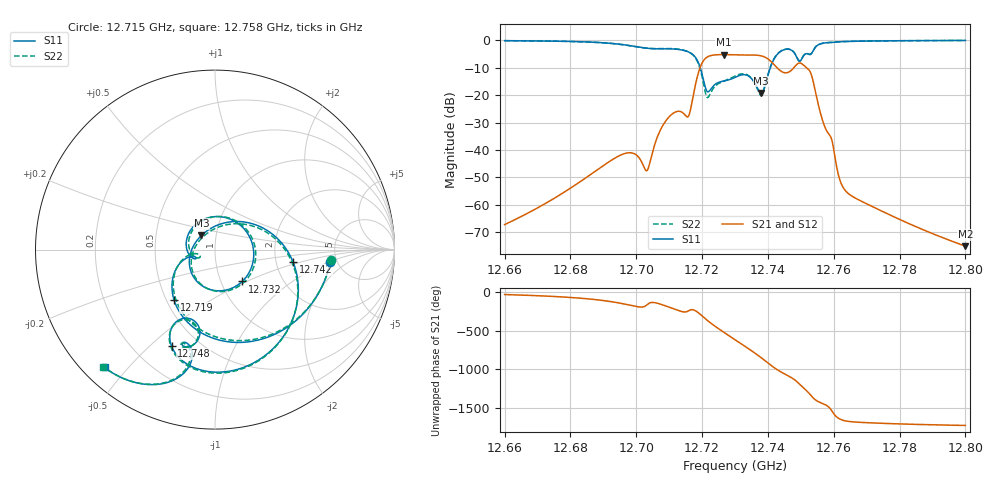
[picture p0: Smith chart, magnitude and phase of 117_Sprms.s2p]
! TOUCHSTONE file generated by CST MICROWAVE STUDIO
! Date and time: Wed Jul 31 16:41:13 2024
! Project name: WaveGuide_BPF-Ver4.1_U-shape_Ku_T3_C4_CWA_2.cst
! Parameters = {cavity_h=16; cavity_l0=10; cavity_l1=15.2361; cavity_l2=16.8702; cavity_l3=17.1135; cavity_l4=17.2491; cavity_l5=17.1061; cavity_l6=17.5619; cavity_r=2.5; cavity_screw_l=0.5; cavity_screw_r=1.5; cavity_w=8; iris_h00=0; iris_h01=8.8095; iris_h112=0; iris_h12=5.6044; iris_h211=3.6676; 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
! Header version: 2018
! Port assignment regex: !\s*Touchstone port\s*([0-9]+)\s*=\s*(CST MWS port|CST DS port)\s*([0-9]+|Zmin|Zmax)\s*\(\"(.*)\"\)(\s*mode\s*([0-9]+))?.*
! Touchstone port assignment:
! Touchstone port 1 = CST MWS port 1 ("")
! Touchstone port 2 = CST MWS port 2 ("")
# GHz S RI R 50
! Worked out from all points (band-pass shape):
!   5001 points, 12.66 GHz to 12.8 GHz, reference 50 ohm
!   highest |S21| = -5.29 dB at 12.727 GHz (marker M1); lowest = -75.0 dB at 12.8 GHz (marker M2)
!   |S21| within 3 dB of the highest: 12.72002 GHz to 12.74136 GHz (21.34 MHz wide, 0.168 % of centre)
!   lowest |S11| = -19.2 dB at 12.738 GHz (marker M3), VSWR 1.25, Z = 42.5 + j6.78 ohm
!   |S11| at or under -10 dB: 12.71942 GHz to 12.74074 GHz (21.32 MHz wide, 0.167 % of centre)
!   |S22| runs from -20.9 to -0.1 dB; largest |S21 - S12| = 1e-09
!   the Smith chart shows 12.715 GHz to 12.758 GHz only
!   S11 on the Smith chart (normalised r, x): 12.715 GHz: 4.38, -1.04; 12.719 GHz: 0.55, -0.35; 12.732 GHz: 1.26, -0.47; 12.742 GHz: 2.49, -0.42; 12.748 GHz: 0.36, -0.59; 12.758 GHz: 0.06, -0.43
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12.66  0.4464 0.8671  0.000373 -0.000231  0.000373 -0.000231  0.4488 0.8659
12.68335  0.8936 0.2651  0.000461 -0.00271  0.000461 -0.00271  0.8946 0.2598
12.69861  0.0875 -0.7788  -0.00882 -0.000836  -0.00882 -0.000836  0.0519 -0.7772
12.70323  -0.6268 -0.3366  -0.00407 -0.00106  -0.00407 -0.00106  -0.6478 -0.2922
12.70668  -0.5732 0.3903  -0.016 -0.01  -0.016 -0.01  -0.554 0.4275
12.71046  0.1711 0.6712  -0.0394 0.0168  -0.0394 0.0168  0.1873 0.6764
12.7146  0.6414 -0.0695  -0.0095 0.0438  -0.0095 0.0438  0.6464 -0.0575
12.71908  -0.2281 -0.2807  0.0257 0.2771  0.0257 0.2771  -0.224 -0.2588
12.72199  -0.1047 -0.0487  0.4739 -0.1803  0.4739 -0.1803  -0.0833 -0.0422
12.72656  -0.0697 0.1656  -0.5098 -0.1901  -0.5098 -0.1901  -0.0399 0.1742
12.73  0.2062 0.0377  -0.1126 0.5273  -0.1126 0.5273  0.2198 0.027
12.73213  0.1518 -0.1772  0.3967 0.3594  0.3967 0.3594  0.1651 -0.1783
12.73459  -0.0816 -0.1946  0.4738 -0.2495  0.4738 -0.2495  -0.0622 -0.2053
12.73798  -0.0754 0.0789  -0.3407 -0.3875  -0.3407 -0.3875  -0.0667 0.0712
12.74176  0.4343 -0.0677  -0.0902 0.3521  -0.0902 0.3521  0.4383 -0.0947
12.74798  -0.2423 -0.537  0.1932 -0.2544  0.1932 -0.2544  -0.2456 -0.5425
12.75083  -0.0985 -0.5083  -0.3354 -0.0987  -0.3354 -0.0987  -0.1069 -0.5132
12.75335  -0.1279 -0.5688  0.0139 0.2175  0.0139 0.2175  -0.1374 -0.5743
12.75839  -0.6155 -0.6559  0.0135 -0.0146  0.0135 -0.0146  -0.6214 -0.6518
12.76335  -0.8218 -0.4574  -0.00126 0.0014  -0.00126 0.0014  -0.8248 -0.4528
12.77668  -0.9694 -0.0269  -6.37e-05 0.000672  -6.37e-05 0.000672  -0.9696 -0.0224
12.8  -0.9125 0.3691  5.85e-05 0.000168  5.85e-05 0.000168  -0.9107 0.3735
